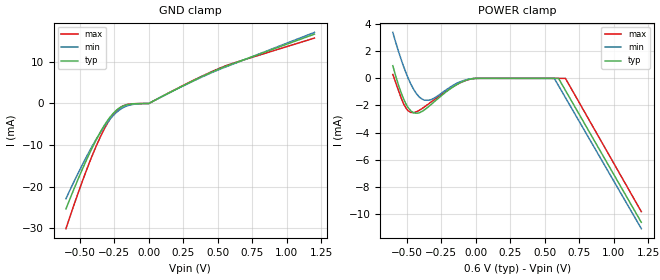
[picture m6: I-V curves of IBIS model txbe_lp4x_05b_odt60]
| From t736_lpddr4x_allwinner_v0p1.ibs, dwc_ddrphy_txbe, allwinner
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[Model] txbe_lp4x_05b_odt60
Model_type   Input
Polarity   Non-Inverting
Enable   Active-High
C_comp   931.723fF   927.791fF   942.079fF
C_comp_pullup   278.521fF   271.993fF   279.576fF
C_comp_pulldown 505.613fF   505.424fF   520.802fF
Vinh = 360.000mV
Vinl = 307.000mV
[Model Spec]
D_overshoot_ampl_h 0.1 NA   NA
D_overshoot_ampl_l 0.1 NA   NA
D_overshoot_area_l 300.000m NA   NA
D_overshoot_area_h 300.000m NA   NA
[Receiver Thresholds]
Vth = 163.000mV
Vth_min = 143.000mV
Vth_max = 150.000mV
Vinh_ac = 60.000mV
Vinh_dc = 60.000mV
Vinl_ac = -60.000mV
Vinl_dc = -60.000mV
Tslew_ac = 5.000ns
Threshold_sensitivity = 0.5
Reference_supply Power_clamp_ref
[Temperature Range]   25.000   125.000   -40.000
[Voltage Range]   600.000mV   570.000mV   650.000mV
[GND Clamp Reference]   0.00V   0.00V   0.00V
[C Comp Corner]
| variable   typ   min   max
C_comp 931.723fF   942.079fF   927.791fF
C_comp_pullup 278.521fF   279.576fF   271.993fF
C_comp_pulldown 505.613fF   520.802fF   505.424fF
[POWER Clamp Reference]   600.000mV   570.000mV   650.000mV
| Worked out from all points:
|   GND clamp passes 1 mA (typ) near -0.21 V on its own axis
|   POWER clamp passes 1 mA (typ) near -0.21 V on its own axis
[GND Clamp]
-600mV    -25.39mA   -22.92mA   -30.13mA
-470mV    -14.97mA   -14.01mA   -17.71mA
-370mV    -8.051mA   -8.016mA   -9.436mA
-320mV    -5.164mA   -5.473mA   -5.988mA
-280mV    -3.259mA   -3.728mA   -3.702mA
-240mV    -1.792mA   -2.314mA   -1.95mA
-210mV    -1.018mA   -1.497mA   -1.039mA
-130mV    -140.6uA   -317.4uA   -102.4uA
0V        0A         0A         0A
310mV     5.292mA    5.206mA    5.362mA
550mV     8.852mA    8.712mA    8.982mA
1.2V      16.69mA    17.12mA    15.75mA
[Power Clamp]
-600mV    929uA      3.381mA    282uA
-540mV    -1.057mA   1.397mA    -1.441mA
-490mV    -2.144mA   34.4uA     -2.377mA
-450mV    -2.542mA   -798uA     -2.526mA
-370mV    -2.317mA   -1.613mA   -2.094mA
-300mV    -1.723mA   -1.457mA   -1.574mA
-170mV    -675.2uA   -554.8uA   -657.6uA
-40mV     -60.4uA    -44.6uA    -61.2uA
570mV     -1.221uA   -11.33uA   -264.1nA
600mV     -1.294uA   -537.8uA   -280.2nA
650mV     -884.8uA   -1.415mA   -307.4nA
1.2V      -10.6mA    -11.07mA   -9.817mA
